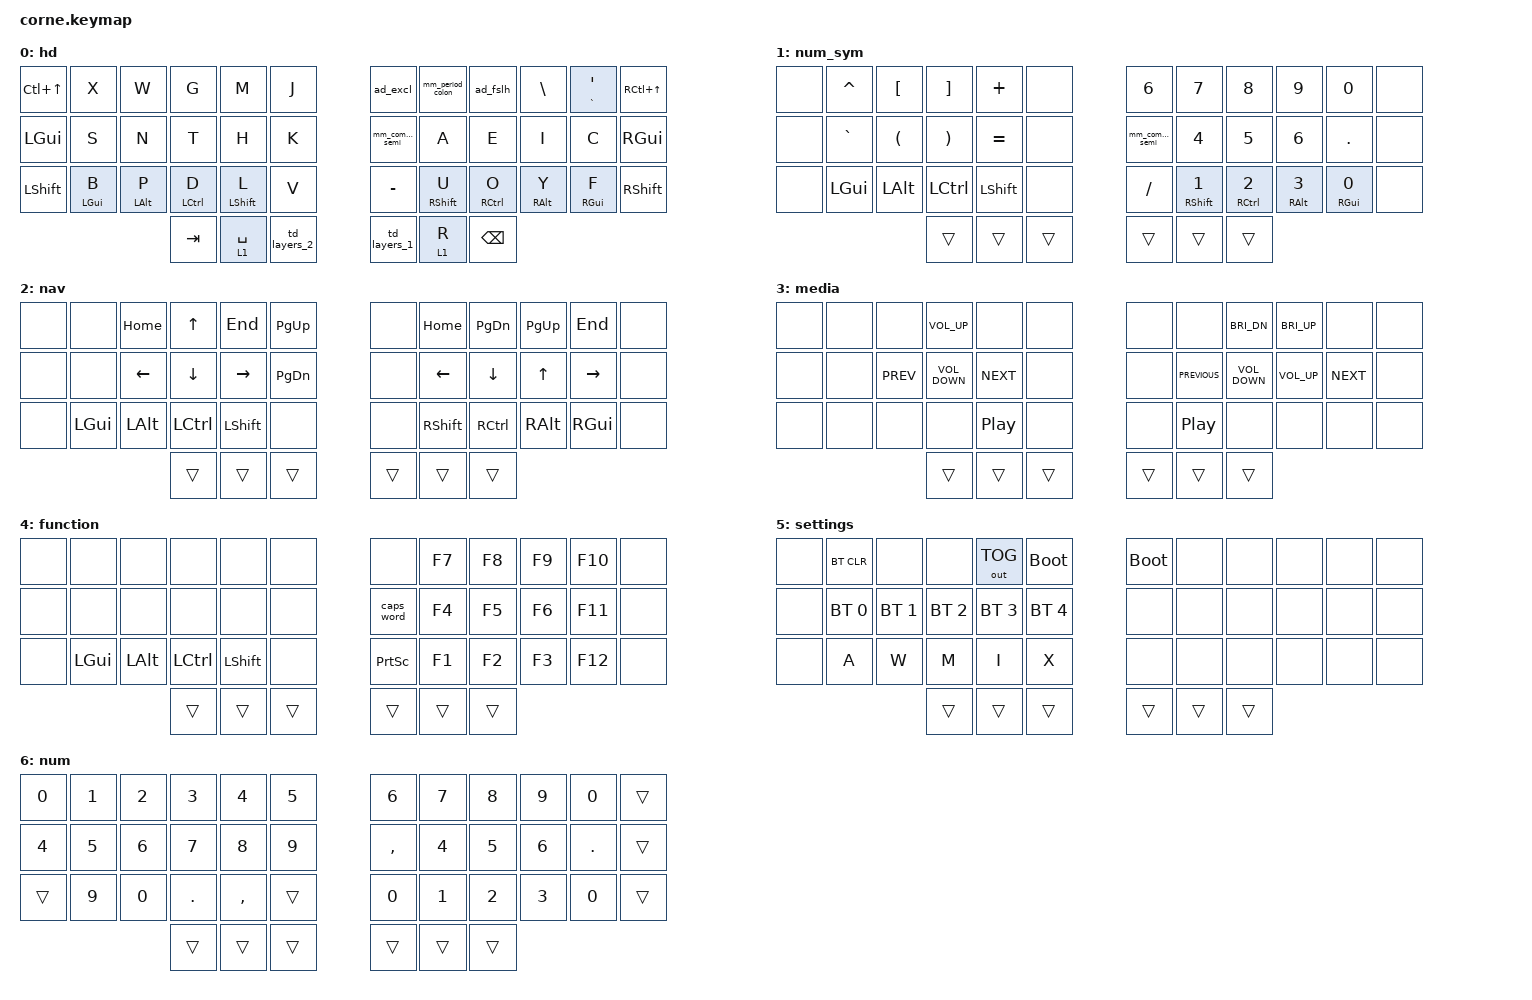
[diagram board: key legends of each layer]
#include <behaviors.dtsi>
#include <dt-bindings/zmk/bt.h>
#include <dt-bindings/zmk/keys.h>
#include <dt-bindings/zmk/outputs.h>

/ {
    behaviors {
        ad_fslh: ad_fslh {
            compatible = "zmk,behavior-adaptive-key";
            #binding-cells = <0>;
            bindings = <&ht_at_amp 0 SLASH>;

            from_a {
                trigger-keys = <A>;
                max-prior-idle-ms = <1000>;
                bindings = <&kp U>;
            };

            from_u {
                trigger-keys = <U>;
                max-prior-idle-ms = <1000>;
                bindings = <&kp A>;
            };
        };

        ad_excl: ad_excl {
            compatible = "zmk,behavior-adaptive-key";
            #binding-cells = <0>;
            bindings = <&mm_excl_else>;

            from_period {
                trigger-keys = <PERIOD>;
                max-prior-idle-ms = <1000>;
                bindings = <&kp C &kp O &kp M>;
            };
        };

        lhm: left_homerow_mods {
            compatible = "zmk,behavior-hold-tap";
            #binding-cells = <2>;
            tapping-term-ms = <180>;
            flavor = "tap-preferred";
            bindings = <&kp>, <&kp>;

            hold-trigger-key-positions = <6 7 8 9 10 11 18 19 20 21 22 23 30 31 32 33 34 35 36 37 38 39 40 41 0 12 24>;
            hold-trigger-on-release;
            require-prior-idle-ms = <100>;
        };

        rhm: right_homerow_mods {
            compatible = "zmk,behavior-hold-tap";
            #binding-cells = <2>;
            tapping-term-ms = <180>;
            flavor = "tap-preferred";
            bindings = <&kp>, <&kp>;

            hold-trigger-key-positions = <0 1 2 3 4 5 12 13 14 15 16 17 24 25 26 27 28 29 36 37 38 39 40 41 11 23 35>;
            hold-trigger-on-release;
            require-prior-idle-ms = <100>;
        };

        lhm_s: lhm_s {
            compatible = "zmk,behavior-hold-tap";
            #binding-cells = <2>;
            tapping-term-ms = <180>;
            quick-tap-ms = <200>;
            flavor = "balanced";
            bindings = <&kp>, <&kp>;

            hold-trigger-key-positions = <6 7 8 9 10 11 18 19 20 21 22 23 30 31 32 33 34 35 36 37 38 39 40 41 0 12 24>;
            hold-trigger-on-release;
        };

        rhm_s: rhm_s {
            compatible = "zmk,behavior-hold-tap";
            #binding-cells = <2>;
            tapping-term-ms = <180>;
            quick-tap-ms = <200>;
            flavor = "balanced";
            bindings = <&kp>, <&kp>;

            hold-trigger-key-positions = <0 1 2 3 4 5 12 13 14 15 16 17 24 25 26 27 28 29 36 37 38 39 40 41 11 23 35>;
            hold-trigger-on-release;
        };

        td_layers_1: td_layers_1 {
            compatible = "zmk,behavior-tap-dance";
            #binding-cells = <0>;
            bindings = <&mo 2>, <&mo 3>, <&mo 5>;

            tapping-term-ms = <300>;
        };

        td_layers_2: td_layers_2 {
            compatible = "zmk,behavior-tap-dance";
            #binding-cells = <0>;
            bindings = <&mo 2>, <&mo 4>, <&mo 5>;

            tapping-term-ms = <300>;
        };

        linger: linger {
            compatible = "zmk,behavior-hold-tap";
            bindings = <&kp>, <&kp>;

            #binding-cells = <2>;
            tapping-term-ms = <200>;
            flavor = "tap-preferred";
        };

        ht_at_amp: ht_at_amp {
            compatible = "zmk,behavior-hold-tap";
            bindings = <&mm_at_amp>, <&kp>;

            #binding-cells = <2>;
            tapping-term-ms = <180>;
            flavor = "balanced";
        };

        mm_at_amp: mm_at_amp {
            compatible = "zmk,behavior-mod-morph";
            bindings = <&kp AT>, <&kp AMPERSAND>;

            #binding-cells = <0>;
            mods = <(MOD_LSFT|MOD_RSFT)>;
        };

        mm_comma_semi: mm_comma_semi {
            compatible = "zmk,behavior-mod-morph";
            bindings = <&kp COMMA>, <&kp SEMICOLON>;

            #binding-cells = <0>;
            mods = <(MOD_LSFT|MOD_RSFT)>;
        };

        mm_period_colon: mm_period_colon {
            compatible = "zmk,behavior-mod-morph";
            bindings = <&kp PERIOD>, <&kp COLON>;

            #binding-cells = <0>;
            mods = <(MOD_LSFT|MOD_RSFT)>;
        };

        mm_excl_else: mm_excl_else {
            compatible = "zmk,behavior-mod-morph";
            bindings = <&kp EXCL>, <&kp AMPERSAND>;

            #binding-cells = <0>;
            mods = <(MOD_LSFT|MOD_RSFT)>;
        };
    };

    conditional_layers { compatible = "zmk,conditional-layers"; };

    combos {
        compatible = "zmk,combos";

        combo_undo {
            bindings = <&kp LG(Z)>;
            key-positions = <25 13>;
            layers = <0>;
        };

        combo_cut {
            bindings = <&kp LG(X)>;
            key-positions = <14 26>;
            layers = <0>;
        };

        combo_copy {
            bindings = <&kp LG(C)>;
            key-positions = <15 27>;
            layers = <0>;
        };

        combo_paste {
            bindings = <&kp LG(V)>;
            key-positions = <16 28>;
            layers = <0>;
        };

        combo_select_all {
            bindings = <&kp LG(A)>;
            key-positions = <17 29>;
            layers = <0>;
        };

        combo_q {
            bindings = <&kp Q>;
            key-positions = <2 3>;
            layers = <0>;
            timeout-ms = <100>;
        };

        combo_z {
            bindings = <&kp Z>;
            key-positions = <13 2>;
            layers = <0>;
            timeout-ms = <100>;
        };

        combo_esc_l {
            bindings = <&kp ESC>;
            key-positions = <4 16>;
            timeout-ms = <100>;
            layers = <0>;
        };

        combo_esc_r {
            bindings = <&kp ESC>;
            key-positions = <19 7>;
            timeout-ms = <100>;
            layers = <0>;
        };

        combo_return_l {
            bindings = <&kp RETURN>;
            key-positions = <15 14 16>;
            timeout-ms = <150>;
        };

        combo_return_r {
            bindings = <&kp RETURN>;
            key-positions = <20 19 21>;
            timeout-ms = <150>;
        };

        combo_delete_l {
            bindings = <&kp DELETE>;
            key-positions = <17 4>;
            timeout-ms = <150>;
        };

        combo_delete_r {
            bindings = <&kp DELETE>;
            key-positions = <18 7>;
            timeout-ms = <150>;
        };

        combo_backspace_l {
            bindings = <&kp BACKSPACE>;
            key-positions = <4 5>;
            timeout-ms = <150>;
        };

        combo_backspace_r {
            bindings = <&kp BACKSPACE>;
            key-positions = <6 7>;
            timeout-ms = <150>;
        };

        combo_percent_l {
            bindings = <&kp PERCENT>;
            key-positions = <14 3>;
            layers = <1>;
        };

        combo_hash_l {
            bindings = <&kp HASH>;
            key-positions = <1 4>;
            layers = <1>;
        };

        combo_dollar_l {
            bindings = <&kp DOLLAR>;
            key-positions = <1 16>;
            layers = <1>;
        };

        combo_lbrace_l {
            bindings = <&kp LEFT_BRACE>;
            key-positions = <2 3>;
            layers = <1>;
        };

        combo_rbrace_l {
            bindings = <&kp RIGHT_BRACE>;
            key-positions = <3 4>;
            layers = <1>;
        };

        combo_lt_l {
            bindings = <&kp LESS_THAN>;
            key-positions = <14 15>;
            layers = <1>;
        };

        combo_gt_l {
            bindings = <&kp GREATER_THAN>;
            key-positions = <15 16>;
            layers = <1>;
        };

        combo_tilde_l {
            bindings = <&kp TILDE>;
            key-positions = <3 16>;
            layers = <1>;
        };

        combo_asterisk_l {
            bindings = <&kp ASTERISK>;
            key-positions = <2 16>;
            layers = <1>;
        };
    };

    keymap {
        compatible = "zmk,keymap";

        hd {
            bindings = <
&kp LC(UP)      &kp X            &kp W            &kp G                &kp M                &kp J           &ad_excl        &mm_period_colon      &ad_fslh              &kp BACKSLASH     &linger GRAVE SQT  &kp RC(UP)
&kp LGUI        &kp S            &kp N            &kp T                &kp H                &kp K           &mm_comma_semi  &kp A                 &kp E                 &kp I             &kp C              &kp RGUI
&kp LEFT_SHIFT  &lhm LEFT_GUI B  &lhm LEFT_ALT P  &lhm LEFT_CONTROL D  &lhm_s LEFT_SHIFT L  &kp V           &kp MINUS       &rhm_s RIGHT_SHIFT U  &rhm RIGHT_CONTROL O  &rhm RIGHT_ALT Y  &rhm RIGHT_GUI F   &kp RIGHT_SHIFT
                                                  &kp TAB              &lt 1 SPACE          &td_layers_2    &td_layers_1    &lt 1 R               &kp BACKSPACE
            >;
        };

        num_sym {
            bindings = <
&none  &kp CARET     &kp LEFT_BRACKET      &kp RIGHT_BRACKET      &kp PLUS        &none     &kp N6          &kp N7               &kp N8                 &kp N9             &kp N0             &none
&none  &kp GRAVE     &kp LEFT_PARENTHESIS  &kp RIGHT_PARENTHESIS  &kp EQUAL       &none     &mm_comma_semi  &kp N4               &kp N5                 &kp N6             &kp PERIOD         &none
&none  &kp LEFT_GUI  &kp LEFT_ALT          &kp LEFT_CONTROL       &kp LEFT_SHIFT  &none     &kp SLASH       &rhm RIGHT_SHIFT N1  &rhm RIGHT_CONTROL N2  &rhm RIGHT_ALT N3  &rhm RIGHT_GUI N0  &none
                                           &trans                 &trans          &trans    &trans          &trans               &trans
            >;
        };

        nav {
            bindings = <
&none  &none         &kp HOME      &kp UP            &kp END         &kp PG_UP    &none   &kp HOME         &kp PG_DN          &kp PG_UP      &kp END        &none
&none  &none         &kp LEFT      &kp DOWN          &kp RIGHT       &kp PG_DN    &none   &kp LEFT         &kp DOWN           &kp UP         &kp RIGHT      &none
&none  &kp LEFT_GUI  &kp LEFT_ALT  &kp LEFT_CONTROL  &kp LEFT_SHIFT  &none        &none   &kp RIGHT_SHIFT  &kp RIGHT_CONTROL  &kp RIGHT_ALT  &kp RIGHT_GUI  &none
                                   &trans            &trans          &trans       &trans  &trans           &trans
            >;
        };

        media {
            bindings = <
&none  &none  &none       &kp C_VOLUME_UP    &none             &none     &none   &none             &kp C_BRI_DN       &kp C_BRI_UP     &none       &none
&none  &none  &kp C_PREV  &kp C_VOLUME_DOWN  &kp C_NEXT        &none     &none   &kp C_PREVIOUS    &kp C_VOLUME_DOWN  &kp C_VOLUME_UP  &kp C_NEXT  &none
&none  &none  &none       &none              &kp C_PLAY_PAUSE  &none     &none   &kp C_PLAY_PAUSE  &none              &none            &none       &none
                          &trans             &trans            &trans    &trans  &trans            &trans
            >;
        };

        function {
            bindings = <
&none  &none         &none         &none             &none           &none     &none            &kp F7  &kp F8  &kp F9  &kp F10  &none
&none  &none         &none         &none             &none           &none     &caps_word       &kp F4  &kp F5  &kp F6  &kp F11  &none
&none  &kp LEFT_GUI  &kp LEFT_ALT  &kp LEFT_CONTROL  &kp LEFT_SHIFT  &none     &kp PRINTSCREEN  &kp F1  &kp F2  &kp F3  &kp F12  &none
                                   &trans            &trans          &trans    &trans           &trans  &trans
            >;
        };

        settings {
            bindings = <
&none  &bt BT_CLR    &none         &none         &out OUT_TOG  &bootloader     &bootloader  &none   &none   &none  &none  &none
&none  &bt BT_SEL 0  &bt BT_SEL 1  &bt BT_SEL 2  &bt BT_SEL 3  &bt BT_SEL 4    &none        &none   &none   &none  &none  &none
&none  &kp A         &kp W         &kp M         &kp I         &kp X           &none        &none   &none   &none  &none  &none
                                   &trans        &trans        &trans          &trans       &trans  &trans
            >;
        };

        num {
            bindings = <
&kp N0  &kp N1  &kp N2  &kp N3   &kp N4     &kp N5    &kp N6     &kp N7  &kp N8  &kp N9  &kp N0   &trans
&kp N4  &kp N5  &kp N6  &kp N7   &kp N8     &kp N9    &kp COMMA  &kp N4  &kp N5  &kp N6  &kp DOT  &trans
&trans  &kp N9  &kp N0  &kp DOT  &kp COMMA  &trans    &kp N0     &kp N1  &kp N2  &kp N3  &kp N0   &trans
                        &trans   &trans     &trans    &trans     &trans  &trans
            >;
        };
    };
};
